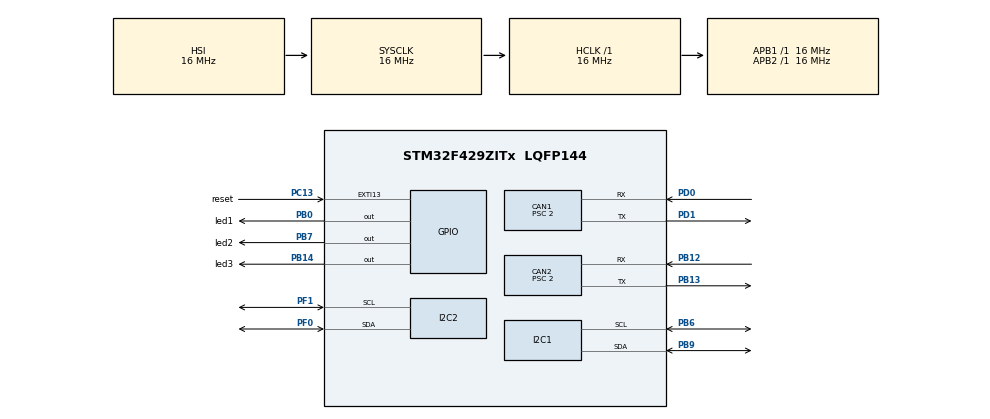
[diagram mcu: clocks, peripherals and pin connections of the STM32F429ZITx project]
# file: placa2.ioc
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Mcu.Family=STM32F4
CAN2.CalculateBaudRate=500000
CAN1.NART=ENABLE
RCC.CortexFreq_Value=16000000
NVIC.CAN2_RX0_IRQn=true\:15\:0\:true\:false\:true\:true\:true
CAN2.NART=ENABLE
CAN2.CalculateTimeBit=2000.00
PC13.Signal=GPXTI13
PB14.GPIO_Label=led3
CAN1.CalculateBaudRate=500000
PD1.Signal=CAN1_TX
PB0.GPIO_Label=led1
PD1.GPIO_PuPd=GPIO_PULLUP
PC13.GPIO_Label=reset
PB13.Signal=CAN2_TX
ProjectManager.StackSize=0x400
PF1.Mode=I2C
CAN1.BS2=CAN_BS2_2TQ
Mcu.UserConstants=I2C_SLAVE_ADDR,0x1UL;CAN_PLACA1_ADDR,0x5B0;CAN_PLACA2_ADDR,0x5A0
CAN1.BS1=CAN_BS1_13TQ
ProjectManager.TargetToolchain=STM32CubeIDE
I2C1.I2C_Mode=I2C_Fast
PB9.Mode=I2C
PB6.Signal=I2C1_SCL
PB6.Mode=I2C
PD0.Signal=CAN1_RX
RCC.LSE_VALUE=32768
RCC.AHBFreq_Value=16000000
NVIC.EXTI15_10_IRQn=true\:15\:0\:true\:false\:true\:true\:true
PB14.Signal=GPIO_Output
RCC.HSE_VALUE=25000000
board=custom
RCC.VCOOutputFreq_Value=192000000
PD1.Mode=CAN_Activate
PB13.GPIO_PuPd=GPIO_PULLUP
RCC.APB2Freq_Value=16000000
VP_TIM2_VS_ClockSourceINT.Mode=Internal
PF0.GPIO_PuPdOD=GPIO_NOPULL
CAN1.Mode=CAN_MODE_LOOPBACK
CAN2.Prescaler=2
CAN2.Mode=CAN_MODE_SILENT
NVIC.TIM2_IRQn=true\:14\:0\:true\:false\:true\:true\:true
CAN2.CalculateTimeQuantum=125.0
PB7.Signal=GPIO_Output
TIM2.Period=50000-1
PF1.Signal=I2C2_SCL
PF1.GPIO_PuPdOD=GPIO_NOPULL
Mcu.Name=STM32F429ZITx
PB6.GPIO_PuPdOD=GPIO_NOPULL
PD0.Mode=CAN_Activate
PB7.GPIO_Label=led2
RCC.SYSCLKFreq_VALUE=16000000
CAN1.Prescaler=2
Mcu.Package=LQFP144
PB9.Signal=I2C1_SDA
TIM2.Prescaler=16-1
PB12.Mode=CAN_Activate
CAN2.BS1=CAN_BS1_13TQ
CAN2.BS2=CAN_BS2_2TQ
ProjectManager.HeapSize=0x200
PF0.Mode=I2C
PD0.GPIO_PuPd=GPIO_PULLUP
PB9.GPIO_PuPdOD=GPIO_NOPULL
NVIC.I2C2_EV_IRQn=true\:15\:0\:true\:false\:true\:true\:true
RCC.HSI_VALUE=16000000
NVIC.PriorityGroup=NVIC_PRIORITYGROUP_4
PF0.Signal=I2C2_SDA
PB13.Mode=CAN_Activate
PB12.GPIO_PuPd=GPIO_PULLUP
RCC.APB1Freq_Value=16000000
CAN1.CalculateTimeBit=2000.00
PB0.Signal=GPIO_Output
I2C2.I2C_Mode=I2C_Fast
PB12.Signal=CAN2_RX
CAN1.CalculateTimeQuantum=125.0

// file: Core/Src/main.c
/* USER CODE BEGIN Header */
/**
  ******************************************************************************
  * @file           : main.c
  * @brief          : Main program body
  ******************************************************************************
  * @attention
  *
  * <h2><center>&copy; Copyright (c) 2021 STMicroelectronics.
  * All rights reserved.</center></h2>
  *
  * This software component is licensed by ST under BSD 3-Clause license,
  * the "License"; You may not use this file except in compliance with the
  * License. You may obtain a copy of the License at:
  *                        opensource.org/licenses/BSD-3-Clause
  *
  ******************************************************************************
  */
/* USER CODE END Header */
#include "main.h"

CAN_HandleTypeDef hcan1;
CAN_HandleTypeDef hcan2;

I2C_HandleTypeDef hi2c1;
I2C_HandleTypeDef hi2c2;

TIM_HandleTypeDef htim2;

/* USER CODE BEGIN PV */
CAN_RxHeaderTypeDef rxHeader;	// CAN Bus Receive Header
CAN_TxHeaderTypeDef txHeader;	// CAN Bus Transmit Header
uint8_t canRX[8] = {0, 0, 0};	// CAN Bus Receive Buffer
CAN_FilterTypeDef canFilter;	// CAN Bus Filter
volatile uint32_t canMailboxTX;			// CAN Bus Mail box variable
uint8_t canTX[8] = {0, 0, 0};
/* USER CODE END PV */

void SystemClock_Config(void);
static void MX_GPIO_Init(void);
static void MX_CAN2_Init(void);
static void MX_I2C2_Init(void);
static void MX_TIM2_Init(void);
static void MX_CAN1_Init(void);
static void MX_I2C1_Init(void);
/* USER CODE BEGIN PFP */
static void CAN_Messages_Init(void);
void resetLeds(void);
/* USER CODE END PFP */

/* USER CODE BEGIN 0 */
void resetLeds(void)
{
	HAL_GPIO_WritePin(led1_GPIO_Port, led1_Pin, GPIO_PIN_RESET);
	HAL_GPIO_WritePin(led2_GPIO_Port, led2_Pin, GPIO_PIN_RESET);
	HAL_GPIO_WritePin(led3_GPIO_Port, led3_Pin, GPIO_PIN_RESET);
}
/* USER CODE END 0 */

int main(void)
{

  /* MCU Configuration--------------------------------------------------------*/

  /* Reset of all peripherals, Initializes the Flash interface and the Systick. */
  HAL_Init();

  /* Configure the system clock */
  SystemClock_Config();

  /* Initialize all configured peripherals */
  MX_GPIO_Init();
  MX_CAN2_Init();
  MX_I2C2_Init();
  MX_TIM2_Init();
  MX_CAN1_Init();
  MX_I2C1_Init();
  /* USER CODE BEGIN 2 */
  HAL_TIM_Base_Start_IT(&htim2);
  CAN_Messages_Init();

  if (HAL_CAN_ActivateNotification(&hcan2, CAN_IT_RX_FIFO0_MSG_PENDING) != HAL_OK)
  {
	  Error_Handler();
  }

  HAL_CAN_Start(&hcan1);
  HAL_CAN_Start(&hcan2);
  /* USER CODE END 2 */

  /* Infinite loop */
  while (1)
  {

  }
}

void SystemClock_Config(void)
{
  RCC_OscInitTypeDef RCC_OscInitStruct = {0};
  RCC_ClkInitTypeDef RCC_ClkInitStruct = {0};

  /** Configure the main internal regulator output voltage
  */
  __HAL_RCC_PWR_CLK_ENABLE();
  __HAL_PWR_VOLTAGESCALING_CONFIG(PWR_REGULATOR_VOLTAGE_SCALE3);
  /** Initializes the RCC Oscillators according to the specified parameters
  * in the RCC_OscInitTypeDef structure.
  */
  RCC_OscInitStruct.OscillatorType = RCC_OSCILLATORTYPE_HSI;
  RCC_OscInitStruct.HSIState = RCC_HSI_ON;
  RCC_OscInitStruct.HSICalibrationValue = RCC_HSICALIBRATION_DEFAULT;
  RCC_OscInitStruct.PLL.PLLState = RCC_PLL_NONE;
  if (HAL_RCC_OscConfig(&RCC_OscInitStruct) != HAL_OK)
  {
    Error_Handler();
  }
  /** Initializes the CPU, AHB and APB buses clocks
  */
  RCC_ClkInitStruct.ClockType = RCC_CLOCKTYPE_HCLK|RCC_CLOCKTYPE_SYSCLK
                              |RCC_CLOCKTYPE_PCLK1|RCC_CLOCKTYPE_PCLK2;
  RCC_ClkInitStruct.SYSCLKSource = RCC_SYSCLKSOURCE_HSI;
  RCC_ClkInitStruct.AHBCLKDivider = RCC_SYSCLK_DIV1;
  RCC_ClkInitStruct.APB1CLKDivider = RCC_HCLK_DIV1;
  RCC_ClkInitStruct.APB2CLKDivider = RCC_HCLK_DIV1;

  if (HAL_RCC_ClockConfig(&RCC_ClkInitStruct, FLASH_LATENCY_0) != HAL_OK)
  {
    Error_Handler();
  }
}

static void MX_CAN1_Init(void)
{

  hcan1.Instance = CAN1;
  hcan1.Init.Prescaler = 2;
  hcan1.Init.Mode = CAN_MODE_LOOPBACK;
  hcan1.Init.SyncJumpWidth = CAN_SJW_1TQ;
  hcan1.Init.TimeSeg1 = CAN_BS1_13TQ;
  hcan1.Init.TimeSeg2 = CAN_BS2_2TQ;
  hcan1.Init.TimeTriggeredMode = DISABLE;
  hcan1.Init.AutoBusOff = DISABLE;
  hcan1.Init.AutoWakeUp = DISABLE;
  hcan1.Init.AutoRetransmission = ENABLE;
  hcan1.Init.ReceiveFifoLocked = DISABLE;
  hcan1.Init.TransmitFifoPriority = DISABLE;
  if (HAL_CAN_Init(&hcan1) != HAL_OK)
  {
    Error_Handler();
  }

}

static void MX_CAN2_Init(void)
{

  hcan2.Instance = CAN2;
  hcan2.Init.Prescaler = 2;
  hcan2.Init.Mode = CAN_MODE_SILENT;
  hcan2.Init.SyncJumpWidth = CAN_SJW_1TQ;
  hcan2.Init.TimeSeg1 = CAN_BS1_13TQ;
  hcan2.Init.TimeSeg2 = CAN_BS2_2TQ;
  hcan2.Init.TimeTriggeredMode = DISABLE;
  hcan2.Init.AutoBusOff = DISABLE;
  hcan2.Init.AutoWakeUp = DISABLE;
  hcan2.Init.AutoRetransmission = ENABLE;
  hcan2.Init.ReceiveFifoLocked = DISABLE;
  hcan2.Init.TransmitFifoPriority = DISABLE;
  if (HAL_CAN_Init(&hcan2) != HAL_OK)
  {
    Error_Handler();
  }

}

static void MX_I2C1_Init(void)
{

  hi2c1.Instance = I2C1;
  hi2c1.Init.ClockSpeed = 400000;
  hi2c1.Init.DutyCycle = I2C_DUTYCYCLE_2;
  hi2c1.Init.OwnAddress1 = 0;
  hi2c1.Init.AddressingMode = I2C_ADDRESSINGMODE_7BIT;
  hi2c1.Init.DualAddressMode = I2C_DUALADDRESS_DISABLE;
  hi2c1.Init.OwnAddress2 = 0;
  hi2c1.Init.GeneralCallMode = I2C_GENERALCALL_DISABLE;
  hi2c1.Init.NoStretchMode = I2C_NOSTRETCH_DISABLE;
  if (HAL_I2C_Init(&hi2c1) != HAL_OK)
  {
    Error_Handler();
  }
  /** Configure Analogue filter
  */
  if (HAL_I2CEx_ConfigAnalogFilter(&hi2c1, I2C_ANALOGFILTER_ENABLE) != HAL_OK)
  {
    Error_Handler();
  }
  /** Configure Digital filter
  */
  if (HAL_I2CEx_ConfigDigitalFilter(&hi2c1, 0) != HAL_OK)
  {
    Error_Handler();
  }

}

static void MX_I2C2_Init(void)
{

  hi2c2.Instance = I2C2;
  hi2c2.Init.ClockSpeed = 400000;
  hi2c2.Init.DutyCycle = I2C_DUTYCYCLE_2;
  hi2c2.Init.OwnAddress1 = 0;
  hi2c2.Init.AddressingMode = I2C_ADDRESSINGMODE_7BIT;
  hi2c2.Init.DualAddressMode = I2C_DUALADDRESS_DISABLE;
  hi2c2.Init.OwnAddress2 = 0;
  hi2c2.Init.GeneralCallMode = I2C_GENERALCALL_DISABLE;
  hi2c2.Init.NoStretchMode = I2C_NOSTRETCH_DISABLE;
  if (HAL_I2C_Init(&hi2c2) != HAL_OK)
  {
    Error_Handler();
  }
  /** Configure Analogue filter
  */
  if (HAL_I2CEx_ConfigAnalogFilter(&hi2c2, I2C_ANALOGFILTER_ENABLE) != HAL_OK)
  {
    Error_Handler();
  }
  /** Configure Digital filter
  */
  if (HAL_I2CEx_ConfigDigitalFilter(&hi2c2, 0) != HAL_OK)
  {
    Error_Handler();
  }

}

static void MX_TIM2_Init(void)
{

  TIM_ClockConfigTypeDef sClockSourceConfig = {0};
  TIM_MasterConfigTypeDef sMasterConfig = {0};

  htim2.Instance = TIM2;
  htim2.Init.Prescaler = 16-1;
  htim2.Init.CounterMode = TIM_COUNTERMODE_UP;
  htim2.Init.Period = 50000-1;
  htim2.Init.ClockDivision = TIM_CLOCKDIVISION_DIV1;
  htim2.Init.AutoReloadPreload = TIM_AUTORELOAD_PRELOAD_DISABLE;
  if (HAL_TIM_Base_Init(&htim2) != HAL_OK)
  {
    Error_Handler();
  }
  sClockSourceConfig.ClockSource = TIM_CLOCKSOURCE_INTERNAL;
  if (HAL_TIM_ConfigClockSource(&htim2, &sClockSourceConfig) != HAL_OK)
  {
    Error_Handler();
  }
  sMasterConfig.MasterOutputTrigger = TIM_TRGO_RESET;
  sMasterConfig.MasterSlaveMode = TIM_MASTERSLAVEMODE_DISABLE;
  if (HAL_TIMEx_MasterConfigSynchronization(&htim2, &sMasterConfig) != HAL_OK)
  {
    Error_Handler();
  }

}

static void MX_GPIO_Init(void)
{
  GPIO_InitTypeDef GPIO_InitStruct = {0};

  /* GPIO Ports Clock Enable */
  __HAL_RCC_GPIOC_CLK_ENABLE();
  __HAL_RCC_GPIOF_CLK_ENABLE();
  __HAL_RCC_GPIOB_CLK_ENABLE();
  __HAL_RCC_GPIOD_CLK_ENABLE();

  /*Configure GPIO pin Output Level */
  HAL_GPIO_WritePin(GPIOB, led1_Pin|led3_Pin|led2_Pin, GPIO_PIN_RESET);

  /*Configure GPIO pin : reset_Pin */
  GPIO_InitStruct.Pin = reset_Pin;
  GPIO_InitStruct.Mode = GPIO_MODE_IT_RISING;
  GPIO_InitStruct.Pull = GPIO_NOPULL;
  HAL_GPIO_Init(reset_GPIO_Port, &GPIO_InitStruct);

  /*Configure GPIO pins : led1_Pin led3_Pin led2_Pin */
  GPIO_InitStruct.Pin = led1_Pin|led3_Pin|led2_Pin;
  GPIO_InitStruct.Mode = GPIO_MODE_OUTPUT_PP;
  GPIO_InitStruct.Pull = GPIO_NOPULL;
  GPIO_InitStruct.Speed = GPIO_SPEED_FREQ_LOW;
  HAL_GPIO_Init(GPIOB, &GPIO_InitStruct);

  /* EXTI interrupt init*/
  HAL_NVIC_SetPriority(EXTI15_10_IRQn, 15, 0);
  HAL_NVIC_EnableIRQ(EXTI15_10_IRQn);

}

/* USER CODE BEGIN 4 */
static void CAN_Messages_Init(void)
{
  canFilter.FilterBank = 14;
  canFilter.FilterMode = CAN_FILTERMODE_IDMASK;
  canFilter.FilterFIFOAssignment = CAN_RX_FIFO0;
  canFilter.FilterIdHigh = CAN_PLACA1_ADDR << 5; // 5 bits unused because 11-bit id
  canFilter.FilterIdLow = 0;
  canFilter.FilterMaskIdHigh = 0xFFC0;
  canFilter.FilterMaskIdLow = 0;
  canFilter.FilterScale = CAN_FILTERSCALE_32BIT;
  canFilter.FilterActivation = ENABLE;
  canFilter.SlaveStartFilterBank = 14;

  if (HAL_CAN_ConfigFilter(&hcan2, &canFilter) != HAL_OK)
  {
	 Error_Handler();
  }

  txHeader.DLC = 3; // Number of bites to be transmitted max- 8
  txHeader.IDE = CAN_ID_STD;
  txHeader.RTR = CAN_RTR_DATA;
  txHeader.StdId = CAN_PLACA2_ADDR;
  txHeader.ExtId = 0;
}

void HAL_CAN_RxFifo0MsgPendingCallback(CAN_HandleTypeDef *hcan)
{
	// Receive CAN bus message to canRX buffer
	HAL_CAN_GetRxMessage(hcan, CAN_RX_FIFO0, &rxHeader, canRX);
	/*
	 * Byte[0]: 0 single led, 1 effect, 2 alarm
	 * Byte[1]: led id (0..4), effect id (0..3)
	 * Byte[2]: single led -> 0 off, 1 on
	 */
	uint8_t i2c_dataTX = 0x0U;

	switch (canRX[0])
	{
	// Change state of only one led
	case 0:
		/*
		 * Bit[1:0] = 00
		 * Bit[4:2] = {000, 001, ... , 100} led id
		 * Bit[5] = {0, 1} on or off
		 */
		resetLeds();
		i2c_dataTX |= 0x0U;
		i2c_dataTX |= canRX[1] << 2;
		i2c_dataTX |= canRX[2] << 5;
		HAL_I2C_Master_Transmit(&hi2c2, I2C_SLAVE_ADDR << 1, &i2c_dataTX, 1, HAL_MAX_DELAY);
		break;
	// Do an animation with the leds
	case 1:
		/*
		 * Bit[1:0] = 01
		 * Bit[3:2] = {00, ... , 11} animation id
		 */
		resetLeds();
		i2c_dataTX |= 0x1U;
		i2c_dataTX |= canRX[1] << 2;
		HAL_I2C_Master_Transmit(&hi2c2, I2C_SLAVE_ADDR << 1, &i2c_dataTX, 1, HAL_MAX_DELAY);
		break;
	// Alarm
	case 2:
		/*
		 * Bit[1:0] = 11
		 */
		i2c_dataTX |= 0x3U;
		HAL_I2C_Master_Transmit(&hi2c2, I2C_SLAVE_ADDR << 1, &i2c_dataTX, 1, HAL_MAX_DELAY);
		HAL_GPIO_WritePin(led1_GPIO_Port, led1_Pin, GPIO_PIN_SET);
		HAL_GPIO_WritePin(led2_GPIO_Port, led2_Pin, GPIO_PIN_SET);
		HAL_GPIO_WritePin(led3_GPIO_Port, led3_Pin, GPIO_PIN_SET);
		HAL_Delay(1000);
		break;
	}
}
void HAL_TIM_PeriodElapsedCallback(TIM_HandleTypeDef *htim)
{
//	uint8_t i2c_dataRX = 0;
//	HAL_I2C_Master_Receive(&hi2c1, 0x3U << 1, &i2c_dataRX, 1, HAL_MAX_DELAY);
//	if ((i2c_dataRX & 0x1U) == 0x1U)
//	{
//		HAL_GPIO_WritePin(led1_GPIO_Port, led1_Pin, GPIO_PIN_SET);
//	} else
//	{
//		HAL_GPIO_WritePin(led1_GPIO_Port, led1_Pin, GPIO_PIN_RESET);
//	}
}
/* USER CODE END 4 */

void Error_Handler(void)
{
  __disable_irq();
  while (1)
  {
  }
}

/************************ (C) COPYRIGHT STMicroelectronics *****END OF FILE****/
